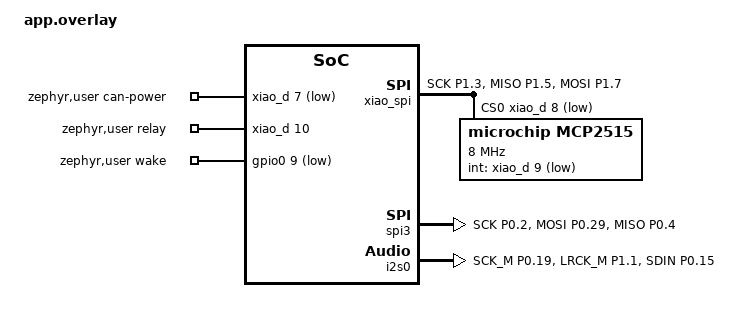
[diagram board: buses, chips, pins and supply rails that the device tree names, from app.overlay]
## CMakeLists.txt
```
cmake_minimum_required(VERSION 3.20.0)

if(NOT EXISTS ${CMAKE_CURRENT_LIST_DIR}/../common/keys.h)
  message(FATAL_ERROR "common/keys.h is missing: run scripts/gen_keys.py first")
endif()

# Flash through the XIAO's UF2 bootloader (double-tap reset first) instead of a J-Link.
# The board file expects the Sense bootloader ID; the XIAO nRF52840 Plus reports this one.
set(BOARD_FLASH_RUNNER uf2)
macro(app_set_runner_args)
  board_runner_args(uf2 "--board-id=nRF52840-SeeedXiao-v1")
endmacro()

find_package(Zephyr REQUIRED HINTS $ENV{ZEPHYR_BASE})
project(pke_car)

target_sources(app PRIVATE
  src/main.c
  src/rpa.c
  src/auth_client.c
  src/ranging.c
  src/vehicle.c
  src/actions.c
  src/door.c
  src/power.c
  src/tap_listener.cpp
  src/tap/detector.cpp
  src/tap/pattern.cpp
  src/tap/tap_features.cpp
  ../common/pke_crypto.c
  ../common/boot_led.c
)
target_include_directories(app PRIVATE ../common src/tap)
```

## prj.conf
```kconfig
CONFIG_LOG=y
CONFIG_MAIN_STACK_SIZE=4096
CONFIG_EVENTS=y

# Onboard RGB LED boot animation (common/boot_led.c)
CONFIG_GPIO=y

# System OFF after 4 days without a fob session (power.c)
CONFIG_POWEROFF=y

# Bluetooth: central that scans for the fob and keeps one link (steps 2 and 6)
CONFIG_BT=y
CONFIG_BT_CENTRAL=y
CONFIG_BT_DEVICE_NAME="PKE car"
CONFIG_BT_MAX_CONN=1
CONFIG_BT_GATT_CLIENT=y
CONFIG_BT_GATT_AUTO_DISCOVER_CCC=y
# Lets the controller answer HCI Read RSSI on the live link (step 6)
CONFIG_BT_CTLR_CONN_RSSI=y

# LE Secure Connections Just Works, no bonding: encryption only, the app does the auth (step 3)
CONFIG_BT_SMP=y
CONFIG_BT_BONDABLE=n

# Room for the 49-byte FOB_PROOF notification
CONFIG_BT_L2CAP_TX_MTU=247
CONFIG_BT_BUF_ACL_RX_SIZE=251
CONFIG_BT_BUF_ACL_TX_SIZE=251

# PSA crypto on CryptoCell-310
CONFIG_PSA_CRYPTO=y
CONFIG_PSA_WANT_GENERATE_RANDOM=y
CONFIG_PSA_WANT_ALG_SHA_256=y
CONFIG_PSA_WANT_ALG_HMAC=y
CONFIG_PSA_WANT_KEY_TYPE_HMAC=y
CONFIG_PSA_WANT_ALG_HKDF=y
# AES-ECB for resolving the fob's RPA
CONFIG_PSA_WANT_KEY_TYPE_AES=y
CONFIG_PSA_WANT_ALG_ECB_NO_PADDING=y

# Door frames over CAN through the MCP2515 on SPI (door.c)
CONFIG_SPI=y
CONFIG_CAN=y
# Releases the CAN SPI pins while the module is unpowered (door.c)
CONFIG_PM_DEVICE=y

# INMP441 microphone, clocked only while a fob is authenticated (tap_listener.cpp)
CONFIG_I2S=y

# The tap detector sources are C++ with float math
CONFIG_CPP=y
CONFIG_STD_CPP17=y
CONFIG_REQUIRES_FULL_LIBCPP=y
CONFIG_FPU=y
# Floats in the EVT log lines
CONFIG_CBPRINTF_FP_SUPPORT=y
```

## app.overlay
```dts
/*
 * Car unit wiring on the carte_uwb support board (README "Hardware (car unit)"). This pinout
 * follows the board, which routes without crossings, so it must not change without a board
 * revision:
 *   D0 DW3000 SCK     D1 DW3000 RSTn    D2 DW3000 WAKEUP   D3 DW3000 MOSI
 *   D4 DW3000 MISO    D5 DW3000 CS      D6 DW3000 IRQ
 *   D7 CAN module power (P-MOS gate, low = on)   D8 MCP2515 CS   D9 MCP2515 INT   D10 relay
 *   D11/D12/D13 INMP441 SD/SCK/WS (bottom pads)
 *   D14 wake input (bottom pad, J1 pin 11)
 *   D17/D18/D19 MCP2515 SCK/MISO/MOSI (bottom pads)
 * The bottom pads aren't on the xiao_d connector, so they are named by their nRF52840 pin.
 */

/ {
	chosen {
		zephyr,canbus = &mcp2515;
	};

	zephyr,user {
		/*
		 * Gate of the board's P-MOS (100k pull-up to 3.3 V): low powers the CAN module, high or
		 * floating cuts it, also in System OFF. On only during a fob session (door.c).
		 */
		can-power-gpios = <&xiao_d 7 GPIO_ACTIVE_LOW>;
		/* Energised = relay closed = jamb-switch line grounded = "driver's door open". */
		relay-gpios = <&xiao_d 10 GPIO_ACTIVE_HIGH>;
		/* D14 (P0.09). Low = wake: brings the unit back from deep idle or System OFF (power.c). */
		wake-gpios = <&gpio0 9 (GPIO_ACTIVE_LOW | GPIO_PULL_UP)>;
	};
};

/* P0.09/P0.10 (D14/D15) are NFC pins until this is set. Leave D15 unconnected. */
&uicr {
	nfct-pins-as-gpios;
};

/* D6/D7 carry the UWB IRQ and the CAN power switch: the console is the USB serial port, not this UART. */
&uart0 {
	status = "disabled";
};

/* D4/D5 carry the UWB MISO and CS instead of I2C. */
&i2c1 {
	status = "disabled";
};

/* CAN on the bottom pads D17-D19; CS and INT on D8/D9, the board's CAN side. */
&xiao_spi {
	pinctrl-0 = <&spi2_can_default>;
	pinctrl-1 = <&spi2_can_sleep>;
	cs-gpios = <&xiao_d 8 GPIO_ACTIVE_LOW>;

	mcp2515: can@0 {
		compatible = "microchip,mcp2515";
		reg = <0>;
		/*
		 * MCP2515 max is 10 MHz. At 1 MHz the driver can't drain a busy 500 kbit/s bus (RX0OVR).
		 * Here the SPI runs down the J1 cable to the OBD box: lower it if frames come back corrupt.
		 */
		spi-max-frequency = <8000000>;
		int-gpios = <&xiao_d 9 GPIO_ACTIVE_LOW>;
		/* Check the crystal printed on the module: a wrong value still starts, but frames won't ACK. */
		osc-freq = <8000000>;
		bitrate = <500000>;
		status = "okay";
	};
};

/* The DW3000 has its own bus, so UWB exchanges never wait behind a CAN transfer. */
&spi3 {
	compatible = "nordic,nrf-spim";
	status = "okay";
	pinctrl-0 = <&spi3_uwb_default>;
	pinctrl-1 = <&spi3_uwb_sleep>;
	pinctrl-names = "default", "sleep";
	cs-gpios = <&xiao_d 5 GPIO_ACTIVE_LOW>;

	/* No driver yet (Qorvo SDK, as in BLEUWB): the node only records the wiring. */
	dw3000: dw3000@0 {
		compatible = "qorvo,dw3000";
		reg = <0>;
		/* Up to 38 MHz per the datasheet, 32 MHz on SPIM3; start slow and raise it once ranging works. */
		spi-max-frequency = <8000000>;
		/* Active high, the only polarity that works in SLEEP/DEEPSLEEP. */
		irq-gpios = <&xiao_d 6 (GPIO_ACTIVE_HIGH | GPIO_PULL_DOWN)>;
		/* Pull low to reset, then release: never drive it high. */
		reset-gpios = <&xiao_d 1 (GPIO_ACTIVE_LOW | GPIO_OPEN_DRAIN)>;
		wakeup-gpios = <&xiao_d 2 GPIO_ACTIVE_HIGH>;
		status = "disabled";
	};
};

&pinctrl {
	spi2_can_default: spi2_can_default {
		group1 {
			psels = <NRF_PSEL(SPIM_SCK, 1, 3)>,
				<NRF_PSEL(SPIM_MISO, 1, 5)>,
				<NRF_PSEL(SPIM_MOSI, 1, 7)>;
		};
	};

	spi2_can_sleep: spi2_can_sleep {
		group1 {
			psels = <NRF_PSEL(SPIM_SCK, 1, 3)>,
				<NRF_PSEL(SPIM_MISO, 1, 5)>,
				<NRF_PSEL(SPIM_MOSI, 1, 7)>;
			low-power-enable;
		};
	};

	spi3_uwb_default: spi3_uwb_default {
		group1 {
			psels = <NRF_PSEL(SPIM_SCK, 0, 2)>,
				<NRF_PSEL(SPIM_MOSI, 0, 29)>,
				<NRF_PSEL(SPIM_MISO, 0, 4)>;
		};
	};

	spi3_uwb_sleep: spi3_uwb_sleep {
		group1 {
			psels = <NRF_PSEL(SPIM_SCK, 0, 2)>,
				<NRF_PSEL(SPIM_MOSI, 0, 29)>,
				<NRF_PSEL(SPIM_MISO, 0, 4)>;
			low-power-enable;
		};
	};

	i2s0_default: i2s0_default {
		group1 {
			psels = <NRF_PSEL(I2S_SCK_M, 0, 19)>,
				<NRF_PSEL(I2S_LRCK_M, 1, 1)>,
				<NRF_PSEL(I2S_SDIN, 0, 15)>;
		};
	};

	i2s0_sleep: i2s0_sleep {
		group1 {
			psels = <NRF_PSEL(I2S_SCK_M, 0, 19)>,
				<NRF_PSEL(I2S_LRCK_M, 1, 1)>,
				<NRF_PSEL(I2S_SDIN, 0, 15)>;
			low-power-enable;
		};
	};
};

&i2s0 {
	status = "okay";
	pinctrl-0 = <&i2s0_default>;
	pinctrl-1 = <&i2s0_sleep>;
	pinctrl-names = "default", "sleep";
};
```

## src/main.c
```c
/*
 * PKE car unit: scans for the enrolled fob, connects once it is close,
 * authenticates it, then watches the live link for the driver walking away.
 *
 * The main thread runs the whole sequence and blocks on car_events; the
 * Bluetooth callbacks only post events or queue adverts.
 */
#include <errno.h>
#include <string.h>

#include <zephyr/kernel.h>
#include <zephyr/logging/log.h>
#include <zephyr/sys/byteorder.h>
#include <zephyr/bluetooth/bluetooth.h>
#include <zephyr/bluetooth/conn.h>
#include <zephyr/bluetooth/hci.h>

#include "actions.h"
#include "auth_client.h"
#include "boot_led.h"
#include "car.h"
#include "door.h"
#include "pke_crypto.h"
#include "power.h"
#include "ranging.h"
#include "rpa.h"
#include "tap_listener.h"
#include "vehicle.h"

LOG_MODULE_REGISTER(car, LOG_LEVEL_INF);

/* Step 2: connect once the filtered advert RSSI holds this level. */
#define CONNECT_RSSI_DBM -70
#define CONNECT_SAMPLES  3

/* Step 6: the exit starts once the filtered link RSSI stays below this level. */
#define EXIT_RSSI_DBM -80
#define EXIT_SAMPLES  5
#define EXIT_POLL_MS  250

/*
 * Step 5: unlock as soon as the fob is authenticated. Off: the doors open with a double tap or the
 * original key, and the session only watches for the exit and locks.
 */
#define AUTO_UNLOCK_ENABLED 0

/* Driving mode: the vehicle state is read every this many exit polls, so once a second. */
#define VEHICLE_POLL_EVERY 4
/*
 * Slow link while driving: 1 s interval, and the fob may skip 4 events, so it listens every 5 s.
 * 16 s supervision timeout. Units: 1.25 ms for the interval, 10 ms for the timeout.
 */
#define DRIVE_CONN_PARAM BT_LE_CONN_PARAM(800, 800, 4, 1600)

/* Step 7: rounds per ranging session, compared with the lock radius. */
#define RANGING_ROUNDS 3
#define LOCK_RADIUS_CM 300

#define LINK_TIMEOUT K_SECONDS(5)
/*
 * Pause before scanning again after a session ends, including after a lock:
 * the gap between CONNECT_RSSI_DBM and EXIT_RSSI_DBM already keeps a fob at
 * the boundary from flapping between lock and unlock.
 */
#define RETRY_DELAY K_SECONDS(2)

/* Deep idle (power.h): listen this long, once per period, for the fob. */
#define BURST_MS       1000
#define BURST_PERIOD_S 60

/* Why exit detection stopped watching the link. */
enum exit_cause {
	EXIT_WALKED_AWAY, /* link RSSI dropped with the car parked */
	EXIT_LINK_LOST,   /* supervision timeout or any other loss: fob out of range */
	EXIT_FOB_CLOSED,  /* the fob ended the link itself, e.g. to sleep at rest */
};

/* Reason of the last disconnection, set before EV_DISCONNECTED is posted. */
static uint8_t disc_reason;

struct adv_report {
	bt_addr_le_t addr;
	int8_t rssi;
};

K_EVENT_DEFINE(car_events);
K_MSGQ_DEFINE(adv_q, sizeof(struct adv_report), 16, 4);

static struct bt_conn *conn;

/* Exponential moving average, alpha = 1/4. */
static int rssi_filter(int ema, int sample, bool first)
{
	return first ? sample : ema + (sample - ema) / 4;
}

static void scan_cb(const bt_addr_le_t *addr, int8_t rssi, uint8_t adv_type,
		    struct net_buf_simple *ad)
{
	struct adv_report report = {.addr = *addr, .rssi = rssi};

	/* Cheap pre-filter here; the AES check runs in the main thread. */
	if (adv_type != BT_GAP_ADV_TYPE_ADV_IND || addr->type != BT_ADDR_LE_RANDOM ||
	    !BT_ADDR_IS_RPA(&addr->a)) {
		return;
	}
	k_msgq_put(&adv_q, &report, K_NO_WAIT);
}

static void connected(struct bt_conn *c, uint8_t err)
{
	k_event_post(&car_events, err ? EV_CONN_FAILED : EV_CONNECTED);
}

static void disconnected(struct bt_conn *c, uint8_t reason)
{
	LOG_INF("disconnected (reason 0x%02x)", reason);
	disc_reason = reason;
	k_event_post(&car_events, EV_DISCONNECTED);
}

static void security_changed(struct bt_conn *c, bt_security_t level, enum bt_security_err err)
{
	k_event_post(&car_events, err ? EV_SEC_FAILED : EV_SECURED);
}

BT_CONN_CB_DEFINE(conn_callbacks) = {
	.connected = connected,
	.disconnected = disconnected,
	.security_changed = security_changed,
};

/*
 * Step 2: scan until the fob's RPA resolves with a strong enough filtered RSSI.
 * Returns -EAGAIN once timeout runs out first.
 */
static int scan_for_fob(bt_addr_le_t *fob, k_timeout_t timeout)
{
	/* No duplicate filtering: every advert feeds the RSSI filter. */
	struct bt_le_scan_param param = {
		.type = BT_LE_SCAN_TYPE_PASSIVE,
		.options = BT_LE_SCAN_OPT_NONE,
		.interval = BT_GAP_SCAN_FAST_INTERVAL,
		.window = BT_GAP_SCAN_FAST_WINDOW,
	};
	k_timepoint_t end = sys_timepoint_calc(timeout);
	char addr_str[BT_ADDR_LE_STR_LEN];
	struct adv_report report;
	int ema = 0;
	int above = 0;
	bool first = true;
	int err;

	k_msgq_purge(&adv_q);
	err = bt_le_scan_start(&param, scan_cb);
	if (err) {
		LOG_ERR("scan start failed (err %d)", err);
		return err;
	}
	LOG_INF("scanning for fob");

	for (;;) {
		if (k_msgq_get(&adv_q, &report, sys_timepoint_timeout(end))) {
			err = -EAGAIN;
			break;
		}
		if (!rpa_is_fob(&report.addr)) {
			continue;
		}
		ema = rssi_filter(ema, report.rssi, first);
		first = false;
		above = ema >= CONNECT_RSSI_DBM ? above + 1 : 0;

		bt_addr_le_to_str(&report.addr, addr_str, sizeof(addr_str));
		LOG_INF("fob resolved %s rssi=%d ema=%d", addr_str, report.rssi, ema);
		if (above >= CONNECT_SAMPLES) {
			*fob = report.addr;
			break;
		}
	}

	bt_le_scan_stop();
	return err;
}

/* Deep idle: one burst of continuous scanning. True if the fob was heard, at any RSSI. */
static bool fob_heard_in_burst(void)
{
	struct bt_le_scan_param param = {
		.type = BT_LE_SCAN_TYPE_PASSIVE,
		.options = BT_LE_SCAN_OPT_NONE,
		.interval = BT_GAP_SCAN_FAST_INTERVAL,
		.window = BT_GAP_SCAN_FAST_INTERVAL,
	};
	k_timepoint_t end = sys_timepoint_calc(K_MSEC(BURST_MS));
	struct adv_report report;
	bool heard = false;

	k_msgq_purge(&adv_q);
	if (bt_le_scan_start(&param, scan_cb)) {
		return false;
	}
	while (!heard && k_msgq_get(&adv_q, &report, sys_timepoint_timeout(end)) == 0) {
		heard = rpa_is_fob(&report.addr);
	}
	bt_le_scan_stop();
	return heard;
}

/*
 * Step 2 with long-parking protection: scans normally until POWER_DEEP_IDLE,
 * then in bursts, back to normal as soon as the fob is heard or the wake input
 * is pressed, and enters System OFF at POWER_OFF.
 */
static int wait_for_fob(bt_addr_le_t *fob)
{
	enum power_stage stage, prev = POWER_NORMAL;
	int err;

	for (;;) {
		stage = power_stage();
		if (stage != prev) {
			LOG_INF("power stage %d -> %d", prev, stage);
			prev = stage;
		}

		switch (stage) {
		case POWER_NORMAL:
			err = scan_for_fob(fob, power_until_deep_idle());
			if (err != -EAGAIN) {
				return err;
			}
			break;
		case POWER_DEEP_IDLE:
			if (fob_heard_in_burst()) {
				LOG_INF("fob heard, back to normal scanning");
				power_note_activity();
			} else {
				power_wait_wake(K_MSEC(BURST_PERIOD_S * MSEC_PER_SEC - BURST_MS));
			}
			break;
		case POWER_OFF:
			power_off();
			break;
		}
	}
}

/* Steps 2-3: connect and encrypt the link (LE Secure Connections, Just Works). */
static int connect_secure(const bt_addr_le_t *fob)
{
	uint32_t ev;
	int err;

	k_event_clear(&car_events, UINT32_MAX);
	LOG_INF("fob in range, connecting");
	err = bt_conn_le_create(fob, BT_CONN_LE_CREATE_CONN, BT_LE_CONN_PARAM_DEFAULT, &conn);
	if (err) {
		LOG_WRN("connection create failed (err %d)", err);
		return err;
	}
	ev = car_wait(EV_CONNECTED | EV_CONN_FAILED, LINK_TIMEOUT);
	if (!(ev & EV_CONNECTED)) {
		LOG_WRN("connection failed");
		return -ENOTCONN;
	}

	LOG_INF("connected, encrypting");
	err = bt_conn_set_security(conn, BT_SECURITY_L2);
	if (err) {
		LOG_WRN("set security failed (err %d)", err);
		return err;
	}
	ev = car_wait(EV_SECURED | EV_SEC_FAILED, LINK_TIMEOUT);
	if (!(ev & EV_SECURED)) {
		LOG_WRN("encryption failed");
		return -EACCES;
	}
	LOG_INF("link encrypted (L%d)", bt_conn_get_security(conn));
	return 0;
}

static int read_conn_rssi(int8_t *rssi)
{
	struct bt_hci_cp_read_rssi *cp;
	struct bt_hci_rp_read_rssi *rp;
	struct net_buf *buf;
	struct net_buf *rsp = NULL;
	uint16_t handle;
	int err;

	err = bt_hci_get_conn_handle(conn, &handle);
	if (err) {
		return err;
	}
	buf = bt_hci_cmd_alloc(K_SECONDS(1));
	if (!buf) {
		return -ENOBUFS;
	}
	cp = net_buf_add(buf, sizeof(*cp));
	cp->handle = sys_cpu_to_le16(handle);

	err = bt_hci_cmd_send_sync(BT_HCI_OP_READ_RSSI, buf, &rsp);
	if (err) {
		return err;
	}
	rp = (void *)rsp->data;
	*rssi = rp->rssi;
	net_buf_unref(rsp);
	return 0;
}

/*
 * Driving mode: a slow link the fob barely wakes for, and the fob told not to sleep at rest. The fob
 * hears it while the link is fast: before slowing it, after speeding it up. Whatever fails is retried
 * on the next vehicle poll.
 */
static void sync_driving(bool driving, bool *link_slow, bool *fob_told)
{
	if (driving && !*fob_told) {
		*fob_told = auth_client_drive(conn, true) == 0;
	}
	if (driving != *link_slow) {
		int err = bt_conn_le_param_update(conn, driving ? DRIVE_CONN_PARAM
								: BT_LE_CONN_PARAM_DEFAULT);

		if (err) {
			LOG_WRN("conn param update failed (err %d)", err);
		} else {
			*link_slow = driving;
			LOG_INF("%s link", driving ? "driving: slow" : "parked: fast");
		}
	}
	if (!driving && *fob_told) {
		*fob_told = auth_client_drive(conn, false) != 0;
	}
}

/*
 * Step 6: polls the link RSSI until the driver walks away with the car parked, or the link ends.
 * While the car is driven, the RSSI is ignored, the link runs slow (sync_driving()) and the mic is
 * off.
 */
static enum exit_cause wait_for_exit(void)
{
	unsigned int ticks = 0;
	unsigned int samples = 0;
	bool driving = false;
	bool link_slow = false;
	bool fob_told = false;
	bool read_failed = false;
	int ema = 0;
	int below = 0;
	int8_t rssi;
	int err;

	LOG_INF("exit detection armed (link RSSI < %d dBm for %d samples)", EXIT_RSSI_DBM,
		EXIT_SAMPLES);
	for (;;) {
		if (car_wait(0, K_MSEC(EXIT_POLL_MS))) {
			/*
			 * A clean terminate came from the fob over the encrypted link, so it was
			 * still in range: nothing says the driver left.
			 */
			if (disc_reason == BT_HCI_ERR_REMOTE_USER_TERM_CONN) {
				LOG_INF("fob closed the link while unlocked, not locking");
				return EXIT_FOB_CLOSED;
			}
			LOG_WRN("link lost while unlocked, treating as exit");
			return EXIT_LINK_LOST;
		}
		if (ticks++ % VEHICLE_POLL_EVERY == 0) {
			bool was_driving = driving;

			driving = vehicle_poll() == VEHICLE_DRIVING;
			/* No tap gestures on the move: the mic listens only while parked or off. */
			if (driving && !was_driving) {
				tap_listener_stop();
			} else if (!driving && was_driving) {
				tap_listener_start();
			}
			sync_driving(driving, &link_slow, &fob_told);
		}
		if (driving || link_slow || fob_told) {
			/* No exit while driven, nor before the link and the fob are back to parked. */
			samples = 0;
			below = 0;
			continue;
		}
		err = read_conn_rssi(&rssi);
		if (err) {
			if (!read_failed) {
				LOG_WRN("link RSSI read failed (err %d)", err);
				read_failed = true;
			}
			continue;
		}
		ema = rssi_filter(ema, rssi, samples == 0);
		below = ema < EXIT_RSSI_DBM ? below + 1 : 0;
		if (++samples % 4 == 0) {
			LOG_INF("link rssi=%d ema=%d", rssi, ema);
		}
		if (below < EXIT_SAMPLES) {
			continue;
		}

		LOG_INF("exit started: link ema=%d dBm below %d dBm", ema, EXIT_RSSI_DBM);
		if (vehicle_is_parked()) {
			return EXIT_WALKED_AWAY;
		}
		below = 0;
	}
}

/* Step 7: one ranging session. Returns the longest run of rounds beyond the lock radius. */
static int ranging_session(const uint8_t session_key[PKE_KEY_LEN])
{
	uint8_t sts_key[PKE_KEY_LEN];
	uint32_t distance_cm;
	int consecutive = 0;
	int best = 0;

	if (auth_client_range(conn, session_key, sts_key)) {
		return 0;
	}
	for (int i = 0; i < RANGING_ROUNDS; i++) {
		int err = ranging_measure(sts_key, &distance_cm);

		/* -ENOTSUP: the UWB dummy, which always passes. */
		if (err == -ENOTSUP || (err == 0 && distance_cm > LOCK_RADIUS_CM)) {
			consecutive++;
		} else {
			consecutive = 0;
		}
		best = MAX(best, consecutive);
	}
	memset(sts_key, 0, sizeof(sts_key));
	return best;
}

/* Steps 2-8 for one approach of the fob. */
static void run_session(const bt_addr_le_t *fob)
{
	uint8_t session_key[PKE_KEY_LEN];
	enum exit_cause cause;
	bool locked = false;
	bool armed = true;

	if (connect_secure(fob) || auth_client_run(conn, session_key)) {
		return;
	}

	/* The mic only listens while this authenticated fob is connected. */
	tap_listener_start();

#if AUTO_UNLOCK_ENABLED
	uint32_t distance_cm;
	/* Step 4 */
	int err = ranging_measure(session_key, &distance_cm);

	/* Step 5, never while driving: a fob reconnecting mid-drive must not open the doors. */
	if (vehicle_poll() == VEHICLE_DRIVING) {
		LOG_INF("car is being driven, unlock skipped");
	} else {
		armed = unlock_decide(pke_key_id(session_key), err ? -1 : (int32_t)distance_cm);
	}
#else
	LOG_INF("auto-unlock off, double tap to unlock");
#endif
	if (armed) {
		/*
		 * Steps 6-8: stay connected so exit detection can read the link RSSI.
		 * A lost link means the fob is out of BLE range, so beyond any lock radius.
		 * A link the fob closed itself leaves the doors as they are.
		 */
		do {
			cause = wait_for_exit();
			if (cause == EXIT_FOB_CLOSED) {
				break;
			}
			locked = lock_decide(cause == EXIT_WALKED_AWAY ? ranging_session(session_key)
								 : LOCK_K_ROUNDS);
		} while (!locked && cause == EXIT_WALKED_AWAY);
	}

	tap_listener_stop();
	door_sleep();
	memset(session_key, 0, sizeof(session_key));
}

static void drop_conn(void)
{
	if (!conn) {
		return;
	}
	if (bt_conn_disconnect(conn, BT_HCI_ERR_REMOTE_USER_TERM_CONN) == 0) {
		car_wait(0, K_SECONDS(2));
	}
	bt_conn_unref(conn);
	conn = NULL;
}

int main(void)
{
	bt_addr_le_t fob;
	int err;

	boot_led_play();
	err = pke_crypto_init();
	if (!err) {
		err = rpa_init();
	}
	if (err) {
		LOG_ERR("crypto init failed (err %d)", err);
		return 0;
	}
	/* Neither is fatal: BLE still runs, and door_send() retries the CAN start. */
	door_init();
	tap_listener_init();
	err = power_init();
	if (err) {
		LOG_ERR("wake input init failed (err %d)", err);
	}

	err = bt_enable(NULL);
	if (err) {
		LOG_ERR("bluetooth init failed (err %d)", err);
		return 0;
	}
	LOG_INF("car ready");

	for (;;) {
		if (wait_for_fob(&fob)) {
			k_sleep(RETRY_DELAY);
			continue;
		}
		run_session(&fob);
		drop_conn();
		power_note_activity();
		k_sleep(RETRY_DELAY);
	}
}
```

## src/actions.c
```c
#include <zephyr/logging/log.h>

#include "actions.h"
#include "door.h"

LOG_MODULE_REGISTER(actions, LOG_LEVEL_INF);

bool unlock_decide(uint32_t session_key_id, int32_t distance_cm)
{
	/*
	 * The UWB dummy gives no distance (distance_cm < 0) and always passes. Later: compare
	 * distance_cm with the unlock radius before unlocking.
	 */
	if (distance_cm < 0) {
		LOG_INF("UNLOCK decision: fob authenticated, key id %08x, distance n/a (UWB dummy) "
			"-> unlock", session_key_id);
	} else {
		LOG_INF("UNLOCK decision: fob authenticated, key id %08x, distance %d cm -> unlock",
			session_key_id, distance_cm);
	}

	/*
	 * True even when the frame was not delivered: the session stays up, so exit detection
	 * still runs and a double tap retries the unlock. Dropping the link instead would
	 * reconnect every few seconds and pulse the relay each time.
	 */
	if (!door_send(DOOR_UNLOCK)) {
		LOG_WRN("unlock not delivered; double tap to retry");
	}
	return true;
}

bool lock_decide(int rounds_above_radius)
{
	if (rounds_above_radius < LOCK_K_ROUNDS) {
		LOG_INF("LOCK decision: %d/%d rounds above radius -> keep waiting",
			rounds_above_radius, LOCK_K_ROUNDS);
		return false;
	}
	LOG_INF("LOCK decision: %d/%d rounds above radius -> lock", rounds_above_radius,
		LOCK_K_ROUNDS);

	/* A failed lock returns false, so the next exit trigger retries it while still linked. */
	return door_send(DOOR_LOCK);
}
```

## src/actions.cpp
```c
#include "actions.h"
#include "door.h"
#include "log.h"

LOG_MODULE("actions");

bool unlock_decide(int rssi_dbm)
{
	/*
	 * Simplified authentication: an advert whose RPA resolves with the fob IRK is enough. There
	 * is no challenge-response and no UWB distance check (see README "Safety").
	 */
	LOG_INF("UNLOCK decision: fob RPA resolved, rssi ema=%d dBm -> unlock", rssi_dbm);

	/*
	 * True even when the frame was not delivered: the session stays up, so exit detection
	 * still runs and a double tap retries the unlock. Ending it instead would detect the fob
	 * again within seconds and pulse the relay each time.
	 */
	if (!door_send(DOOR_UNLOCK)) {
		LOG_WRN("unlock not delivered; double tap to retry");
	}
	return true;
}

bool lock_decide(void)
{
	LOG_INF("LOCK decision: fob walked away -> lock");

	/* A failed lock returns false, so the next exit trigger retries it while the fob is still seen. */
	return door_send(DOOR_LOCK);
}
```

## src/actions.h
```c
/* Unlock and lock decisions. */
#ifndef ACTIONS_H
#define ACTIONS_H

/* Decides and performs the unlock once the fob is detected close by. True when unlocked. */
bool unlock_decide(int rssi_dbm);

/* Decides and performs the lock once the fob has walked away. True when locked. */
bool lock_decide(void);

#endif /* ACTIONS_H */
```

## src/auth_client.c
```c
#include <errno.h>
#include <string.h>

#include <zephyr/kernel.h>
#include <zephyr/logging/log.h>
#include <zephyr/bluetooth/gatt.h>

#include "auth_client.h"
#include "car.h"
#include "pke_crypto.h"

LOG_MODULE_REGISTER(auth_client, LOG_LEVEL_INF);

/* Budget for each exchange, measured once the link is encrypted. */
#define EXCHANGE_TIMEOUT_MS 3000
/* DRIVE may go out on the slow driving link, where the fob only listens every ~5 s. */
#define DRIVE_TIMEOUT_MS 7000

static const struct bt_uuid_128 auth_uuid = BT_UUID_INIT_128(PKE_AUTH_UUID_VAL);

/* The Bluetooth stack keeps pointers to these until their callback runs. */
static struct bt_gatt_exchange_params mtu_params;
static struct bt_gatt_discover_params disc_params;
static struct bt_gatt_discover_params ccc_disc_params;
static struct bt_gatt_subscribe_params sub_params;
static struct bt_gatt_write_params write_params;

static uint16_t auth_handle;
static uint8_t att_err;
static uint8_t rx_buf[PKE_MSG_MAX_LEN];
static uint16_t rx_len;
static int64_t deadline;

static void mtu_cb(struct bt_conn *conn, uint8_t err, struct bt_gatt_exchange_params *params)
{
	att_err = err;
	k_event_post(&car_events, EV_MTU_DONE);
}

static uint8_t discover_cb(struct bt_conn *conn, const struct bt_gatt_attr *attr,
			   struct bt_gatt_discover_params *params)
{
	if (attr) {
		const struct bt_gatt_chrc *chrc = attr->user_data;

		auth_handle = chrc->value_handle;
	}
	k_event_post(&car_events, EV_DISCOVERED);
	return BT_GATT_ITER_STOP;
}

static void subscribe_cb(struct bt_conn *conn, uint8_t err, struct bt_gatt_subscribe_params *params)
{
	att_err = err;
	k_event_post(&car_events, EV_SUBSCRIBED);
}

static uint8_t notify_cb(struct bt_conn *conn, struct bt_gatt_subscribe_params *params,
			 const void *data, uint16_t len)
{
	if (!data) {
		/* Unsubscribed, e.g. on disconnect. */
		params->value_handle = 0;
		return BT_GATT_ITER_STOP;
	}
	rx_len = MIN(len, sizeof(rx_buf));
	memcpy(rx_buf, data, rx_len);
	k_event_post(&car_events, EV_RX);
	return BT_GATT_ITER_CONTINUE;
}

static void write_cb(struct bt_conn *conn, uint8_t err, struct bt_gatt_write_params *params)
{
	att_err = err;
	k_event_post(&car_events, EV_WRITE_DONE);
}

static k_timeout_t remaining(void)
{
	return K_MSEC(MAX(deadline - k_uptime_get(), 0));
}

/* Clears `bit` and the last ATT error before starting the operation that posts it. */
static void begin(uint32_t bit)
{
	k_event_clear(&car_events, bit);
	att_err = 0;
}

static int wait_att(uint32_t bit, const char *what)
{
	if (!(car_wait(bit, remaining()) & bit)) {
		LOG_WRN("%s: timeout or link lost", what);
		return -ETIMEDOUT;
	}
	if (att_err) {
		LOG_WRN("%s: ATT error 0x%02x", what, att_err);
		return -EIO;
	}
	return 0;
}

/* Writes msg to the Auth characteristic and waits for the fob's notification of rsp_type. */
static int exchange(struct bt_conn *conn, const uint8_t *msg, uint16_t len, uint8_t rsp_type,
		    uint16_t rsp_len)
{
	int err;

	begin(EV_WRITE_DONE | EV_RX);
	write_params = (struct bt_gatt_write_params){
		.func = write_cb,
		.handle = auth_handle,
		.data = msg,
		.length = len,
	};
	err = bt_gatt_write(conn, &write_params);
	if (err) {
		LOG_WRN("write 0x%02x failed (err %d)", msg[0], err);
		return err;
	}
	err = wait_att(EV_WRITE_DONE, "write");
	if (err) {
		return err;
	}
	if (!(car_wait(EV_RX, remaining()) & EV_RX)) {
		LOG_WRN("no reply to 0x%02x", msg[0]);
		return -ETIMEDOUT;
	}
	if (rx_len != rsp_len || rx_buf[0] != rsp_type) {
		LOG_WRN("unexpected reply 0x%02x (len %u)", rx_buf[0], rx_len);
		return -EPROTO;
	}
	return 0;
}

/* MTU exchange, Auth characteristic discovery and notification subscription. */
static int setup_link(struct bt_conn *conn)
{
	int err;

	begin(EV_MTU_DONE);
	mtu_params.func = mtu_cb;
	err = bt_gatt_exchange_mtu(conn, &mtu_params);
	if (!err) {
		err = wait_att(EV_MTU_DONE, "MTU exchange");
	}
	if (err && err != -EALREADY) {
		return err;
	}
	if (bt_gatt_get_mtu(conn) < PKE_MSG_MAX_LEN + 3) {
		LOG_WRN("ATT MTU %u too small", bt_gatt_get_mtu(conn));
		return -EMSGSIZE;
	}

	begin(EV_DISCOVERED);
	auth_handle = 0;
	disc_params = (struct bt_gatt_discover_params){
		.uuid = &auth_uuid.uuid,
		.func = discover_cb,
		.start_handle = BT_ATT_FIRST_ATTRIBUTE_HANDLE,
		.end_handle = BT_ATT_LAST_ATTRIBUTE_HANDLE,
		.type = BT_GATT_DISCOVER_CHARACTERISTIC,
	};
	err = bt_gatt_discover(conn, &disc_params);
	if (!err) {
		err = wait_att(EV_DISCOVERED, "discovery");
	}
	if (err) {
		return err;
	}
	if (!auth_handle) {
		LOG_WRN("PKE Auth characteristic not found");
		return -ENOENT;
	}

	begin(EV_SUBSCRIBED);
	sub_params = (struct bt_gatt_subscribe_params){
		.notify = notify_cb,
		.subscribe = subscribe_cb,
		.value_handle = auth_handle,
		.ccc_handle = BT_GATT_AUTO_DISCOVER_CCC_HANDLE,
		.end_handle = BT_ATT_LAST_ATTRIBUTE_HANDLE,
		.disc_params = &ccc_disc_params,
		.value = BT_GATT_CCC_NOTIFY,
	};
	err = bt_gatt_subscribe(conn, &sub_params);
	if (!err) {
		err = wait_att(EV_SUBSCRIBED, "subscribe");
	}
	return err;
}

int auth_client_run(struct bt_conn *conn, uint8_t session_key[PKE_KEY_LEN])
{
	uint8_t hello[PKE_HELLO_LEN] = {PKE_MSG_HELLO};
	uint8_t proof[PKE_CAR_PROOF_LEN] = {PKE_MSG_CAR_PROOF};
	uint8_t nonce_c[PKE_NONCE_LEN];
	uint8_t nonce_f[PKE_NONCE_LEN];
	int err;

	deadline = k_uptime_get() + EXCHANGE_TIMEOUT_MS;
	err = setup_link(conn);
	if (err) {
		return err;
	}

	err = pke_random(nonce_c, sizeof(nonce_c));
	if (err) {
		return err;
	}
	memcpy(hello + 1, nonce_c, PKE_NONCE_LEN);
	LOG_INF("sending HELLO");
	err = exchange(conn, hello, sizeof(hello), PKE_MSG_FOB_PROOF, PKE_FOB_PROOF_LEN);
	if (err) {
		return err;
	}

	memcpy(nonce_f, rx_buf + 1, PKE_NONCE_LEN);
	if (pke_proof_verify(PKE_LABEL_FOB, nonce_c, nonce_f, rx_buf + 1 + PKE_NONCE_LEN)) {
		LOG_WRN("fob proof invalid");
		return -EACCES;
	}
	LOG_INF("fob proof valid, sending CAR_PROOF");

	err = pke_proof(PKE_LABEL_CAR, nonce_c, nonce_f, proof + 1);
	if (!err) {
		err = exchange(conn, proof, sizeof(proof), PKE_MSG_ACK, PKE_ACK_LEN);
	}
	if (err) {
		return err;
	}
	if (rx_buf[1] != PKE_STATUS_OK) {
		LOG_WRN("fob rejected the car proof");
		return -EACCES;
	}

	err = pke_session_key(nonce_c, nonce_f, session_key);
	if (err) {
		return err;
	}
	LOG_INF("mutual auth OK, session key id=%08x", pke_key_id(session_key));
	return 0;
}

int auth_client_range(struct bt_conn *conn, const uint8_t session_key[PKE_KEY_LEN],
		      uint8_t sts_key[PKE_KEY_LEN])
{
	uint8_t req[PKE_RANGE_REQ_LEN] = {PKE_MSG_RANGE_REQ};
	int err;

	deadline = k_uptime_get() + EXCHANGE_TIMEOUT_MS;
	err = pke_random(req + 1, PKE_NONCE_LEN);
	if (err) {
		return err;
	}
	LOG_INF("sending RANGE_REQ");
	err = exchange(conn, req, sizeof(req), PKE_MSG_RANGE_ACK, PKE_RANGE_ACK_LEN);
	if (err) {
		return err;
	}
	if (rx_buf[1] != PKE_STATUS_OK) {
		LOG_WRN("fob refused the ranging session");
		return -EACCES;
	}

	err = pke_sts_key(session_key, req + 1, sts_key);
	if (err) {
		return err;
	}
	LOG_INF("sts key id=%08x", pke_key_id(sts_key));
	return 0;
}

int auth_client_drive(struct bt_conn *conn, bool driving)
{
	uint8_t req[PKE_DRIVE_LEN] = {PKE_MSG_DRIVE, driving};
	int err;

	deadline = k_uptime_get() + DRIVE_TIMEOUT_MS;
	err = exchange(conn, req, sizeof(req), PKE_MSG_ACK, PKE_ACK_LEN);
	if (!err && rx_buf[1] != PKE_STATUS_OK) {
		err = -EACCES;
	}
	if (err) {
		LOG_WRN("DRIVE %u not acknowledged (err %d)", driving, err);
	}
	return err;
}
```

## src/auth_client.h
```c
/* Car side of the PKE GATT protocol. Both calls block the caller and return 0 or a negative errno. */
#ifndef AUTH_CLIENT_H
#define AUTH_CLIENT_H

#include <stdbool.h>
#include <stdint.h>
#include <zephyr/bluetooth/conn.h>

#include "pke_protocol.h"

/*
 * Step 3, on an encrypted link: finds the Auth characteristic, runs the mutual
 * challenge-response and derives the session key.
 */
int auth_client_run(struct bt_conn *conn, uint8_t session_key[PKE_KEY_LEN]);

/* Step 7: sends RANGE_REQ with a fresh nonce and derives the STS key from the session key. */
int auth_client_range(struct bt_conn *conn, const uint8_t session_key[PKE_KEY_LEN],
		      uint8_t sts_key[PKE_KEY_LEN]);

/* Tells the fob whether the car is being driven, so it keeps the link instead of sleeping at rest. */
int auth_client_drive(struct bt_conn *conn, bool driving);

#endif /* AUTH_CLIENT_H */
```

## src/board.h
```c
/*
 * Car unit wiring on the ESP32 DevKit (README "Hardware"). Takes the place of
 * app.overlay on nrf52840/main.
 */
#ifndef BOARD_H
#define BOARD_H

#include <stdint.h>

#include <driver/i2s.h>

/* ---- MCP2515 CAN controller (SPI on VSPI: SCK=18, MISO=19, MOSI=23) ---- */
static const uint8_t MCP_CS_PIN = 5;
/* Active low, falls when a frame is received (door.cpp). */
static const uint8_t MCP_INT_PIN = 4;

/* ---- Relay wake ---- */
/* GPIO driving the relay coil, through a transistor and a flyback diode. */
static const uint8_t RELAY_PIN = 13;
/* Energised = relay closed = jamb-switch line grounded = "driver's door open". */
static const bool RELAY_ACTIVE_HIGH = true;

/* ---- INMP441 I2S microphone (L/R tied to GND: left channel) ---- */
static const int I2S_WS_PIN = 25;
static const int I2S_SCK_PIN = 33;
static const int I2S_SD_PIN = 32;
#define I2S_PORT I2S_NUM_0

#endif /* BOARD_H */
```

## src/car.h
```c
/* Events shared by the car's Bluetooth callbacks and its main thread. */
#ifndef CAR_H
#define CAR_H

#include <zephyr/kernel.h>
#include <zephyr/sys/util.h>

#define EV_CONNECTED    BIT(0)
#define EV_CONN_FAILED  BIT(1)
#define EV_DISCONNECTED BIT(2)
#define EV_SECURED      BIT(3)
#define EV_SEC_FAILED   BIT(4)
#define EV_MTU_DONE     BIT(5)
#define EV_DISCOVERED   BIT(6)
#define EV_SUBSCRIBED   BIT(7)
#define EV_WRITE_DONE   BIT(8)
#define EV_RX           BIT(9)

extern struct k_event car_events;

/*
 * Waits until any of `bits`, or a disconnect, is posted. Returns the bits seen,
 * or 0 on timeout. Clear a bit before starting the operation that posts it.
 */
static inline uint32_t car_wait(uint32_t bits, k_timeout_t timeout)
{
	return k_event_wait(&car_events, bits | EV_DISCONNECTED, false, timeout);
}

#endif /* CAR_H */
```

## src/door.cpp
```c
/*
 * Door frames over CAN through the MCP2515, ported from car/src/door.c on
 * nrf52840/main. The measurements behind each choice are in the README,
 * "Waking a sleeping bus".
 *
 * The controller stays in normal mode and receives every frame in its own
 * task, woken by the INT pin: ACKing the gateway's NM frames keeps the
 * responsive window usable, and the last frame seen tells whether the bus is
 * awake without having to transmit and fail.
 */
#include <errno.h>
#include <string.h>

#include <Arduino.h>
#include <mcp_can.h>

#include "board.h"
#include "door.h"
#include "door_config.h"
#include "log.h"

LOG_MODULE("door");

/* Above the tap processing task and the loop task, which both send door frames. */
#define RX_TASK_PRIORITY 3
#define RX_TASK_STACK    3072

static MCP_CAN can0(MCP_CS_PIN);

/* door_mutex serialises whole commands; mcp_mutex every SPI exchange with the chip. */
static SemaphoreHandle_t door_mutex;
static SemaphoreHandle_t mcp_mutex;
static SemaphoreHandle_t irq_sem;
static SemaphoreHandle_t rx_sem;
static SemaphoreHandle_t reply_sem;

/* Written with mcp_mutex held, so the receive task never talks to an absent chip. */
static bool can_ready;
static uint8_t reply[4];

/* millis() of the last frame received from any other node; rx_seen stays false until the first one. */
static volatile uint32_t last_rx_ms;
static volatile bool rx_seen;

static void IRAM_ATTR mcp_int_isr(void)
{
	BaseType_t woken = pdFALSE;

	xSemaphoreGiveFromISR(irq_sem, &woken);
	if (woken) {
		portYIELD_FROM_ISR();
	}
}

/* Empties both receive buffers. Call with mcp_mutex held. */
static void drain_rx(void)
{
	unsigned long id; /* INT32U in mcp_can */
	uint8_t len;
	uint8_t buf[8];

	while (can0.checkReceive() == CAN_MSGAVAIL) {
		if (can0.readMsgBuf(&id, &len, buf) != CAN_OK) {
			break;
		}
		last_rx_ms = millis();
		rx_seen = true;
		xSemaphoreGive(rx_sem);

		/* Positive response to service 0x30 (0x30 + 0x40), echoing LID 0x11. */
		if (id == DOOR_RESPONSE_ID && len >= 4 && buf[2] == 0x70) {
			memcpy(reply, buf, sizeof(reply));
			xSemaphoreGive(reply_sem);
		}
	}
}

static void rx_task(void *arg)
{
	for (;;) {
		xSemaphoreTake(irq_sem, portMAX_DELAY);
		/*
		 * A frame that lands while the buffers are being drained keeps INT low without a new
		 * falling edge, so drain until the line is released.
		 */
		do {
			xSemaphoreTake(mcp_mutex, portMAX_DELAY);
			if (can_ready) {
				drain_rx();
			}
			xSemaphoreGive(mcp_mutex);
		} while (can_ready && digitalRead(MCP_INT_PIN) == LOW);
	}
}

static bool bus_awake(void)
{
	return rx_seen && (millis() - last_rx_ms) < BUS_AWAKE_TIMEOUT_MS;
}

/* Resets the chip and puts it on-bus in normal mode, accepting every frame. Call with mcp_mutex held. */
static bool reset_can(void)
{
	can_ready = can0.begin(MCP_ANY, MCP_CAN_SPEED, MCP_OSC_FREQ) == CAN_OK &&
		    can0.setMode(MCP_NORMAL) == MCP2515_OK;
	return can_ready;
}

static bool start_can(void)
{
	bool ok;

	xSemaphoreTake(mcp_mutex, portMAX_DELAY);
	ok = reset_can();
	xSemaphoreGive(mcp_mutex);
	if (!ok) {
		LOG_ERR("MCP2515 init failed");
		return false;
	}
	LOG_INF("MCP2515 on-bus");
	return true;
}

/* Returns CAN_OK, or the mcp_can error code (7 = CAN_SENDMSGTIMEOUT: not ACKed). */
static uint8_t send_frame(const uint8_t data[8])
{
	uint8_t buf[8];
	uint8_t eflg, tec, rec;
	uint8_t res;

	memcpy(buf, data, sizeof(buf));
	xSemaphoreTake(mcp_mutex, portMAX_DELAY);
	/* mcp_can waits up to TIMEOUTVALUE (2.5 ms) for the frame to leave the TX buffer. */
	res = can0.sendMsgBuf(DOOR_CMD_ID, 0, sizeof(buf), buf);
	if (res == CAN_OK) {
		xSemaphoreGive(mcp_mutex);
		return CAN_OK;
	}

	/* EFLG: bit0 EWARN, bit2 TXWAR, bit4 TXEP (error-passive), bit5 TXBO (bus-off) */
	eflg = can0.getError();
	tec = can0.errorCountTX();
	rec = can0.errorCountRX();
	/*
	 * Not ACKed. Left alone, the MCP2515 would keep retransmitting it and fire it the instant the
	 * ECU wakes - a stale lock/unlock. Resetting the chip drops it and clears the error counters.
	 * (mcp_can's abortTX() leaves CANCTRL.ABAT set, which would abort every later send too.)
	 */
	if (!reset_can()) {
		LOG_ERR("CAN restart failed");
	}
	xSemaphoreGive(mcp_mutex);
	LOG_WRN("door frame failed: code=%u EFLG=0x%02X TEC=%u REC=%u", res, eflg, tec, rec);
	return res;
}

static void relay_set(bool energised)
{
	digitalWrite(RELAY_PIN, energised == RELAY_ACTIVE_HIGH ? HIGH : LOW);
}

#if RELAY_WAKE_ENABLED
/* Waits up to ms, returning as soon as any frame arrives. */
static bool wait_for_traffic(uint32_t ms)
{
	return xSemaphoreTake(rx_sem, pdMS_TO_TICKS(ms)) == pdTRUE;
}

/*
 * Wakes a body ECU in deep sleep by pulsing the relay across the driver's jamb switch as a train of
 * open/close cycles - the way Toyota's service procedure wakes a sleeping main body ECU (open the
 * door, then open and close several times at ~1.5 s intervals). A single pulse isn't enough.
 * Returns as soon as the bus comes alive, so a wake short-circuits the rest of the train.
 */
static bool relay_wake(void)
{
	LOG_INF("wake: pulsing relay on the jamb-switch line...");
	xSemaphoreTake(rx_sem, 0);
	for (int i = 0; i < RELAY_PULSE_COUNT; i++) {
		relay_set(true); /* "door open" - ground the line */
		bool awake = wait_for_traffic(RELAY_PULSE_ON_MS);

		relay_set(false); /* "door closed" - release to the pull-up */
		if (awake || wait_for_traffic(RELAY_PULSE_OFF_MS)) {
			LOG_INF("wake: bus came alive after %d pulse(s)", i + 1);
			return true;
		}
	}
	/* Train done: give the gateway/ECU a last moment to bring the bus up before giving up. */
	if (wait_for_traffic(RELAY_WAKE_TIMEOUT_MS)) {
		LOG_INF("wake: bus came alive after the pulse train");
		return true;
	}
	LOG_WRN("wake: no traffic after relay pulses; ECU may still be asleep");
	return false;
}
#endif

/*
 * Retrying matters even when the bus reads silent: measured on the CT200h, a door frame sent after
 * 42 s of silence was both ACKed and positively answered. A quiet bus is not necessarily a sleeping
 * one - as long as this node stays in normal mode and ACKs the gateway's NM frames, those quiet
 * stretches are gaps in the NM cycle, not deep sleep. Lock and unlock are idempotent, so a repeat
 * is harmless.
 */
static bool send_with_retries(const uint8_t *data)
{
	for (int attempt = 1; attempt <= DOOR_MAX_RETRIES && can_ready; attempt++) {
		xSemaphoreTake(reply_sem, 0);
		if (send_frame(data) == CAN_OK) {
			LOG_INF("sent OK (attempt %d)", attempt);
			if (xSemaphoreTake(reply_sem, pdMS_TO_TICKS(DOOR_REPLY_WAIT_MS)) == pdTRUE) {
				LOG_INF("body ECU confirmed (758: %02X %02X %02X %02X)", reply[0], reply[1],
					reply[2], reply[3]);
			}
			return true;
		}
		if (attempt < DOOR_MAX_RETRIES) {
			vTaskDelay(pdMS_TO_TICKS(DOOR_RETRY_GAP_MS));
		}
	}

	if (bus_awake()) {
		/* traffic is flowing but our frame still wasn't ACKed: not a sleep problem */
		LOG_WRN("NOT delivered although the bus is active - check bitrate/wiring");
	} else {
		LOG_WRN("NOT delivered after retries: bus unresponsive");
	}
	return false;
}

bool door_send(enum door_cmd cmd)
{
	const uint8_t *data = cmd == DOOR_UNLOCK ? UNLOCK_CMD_DATA : LOCK_CMD_DATA;
	bool ok = false;

	xSemaphoreTake(door_mutex, portMAX_DELAY);
	if (!can_ready) {
		start_can();
	}
	if (!can_ready) {
		LOG_WRN("CAN not ready, command dropped");
		goto out;
	}

	/*
	 * Don't launch a door frame into a bus in deep sleep: nothing would ACK it. The NM frame
	 * ticks ~1 Hz in the responsive window, so bus_awake() stays true there and the quiet-stretch
	 * sends above still happen.
	 */
	if (!bus_awake()) {
#if RELAY_WAKE_ENABLED
		/*
		 * Only unlock-on-return has to defeat deep sleep; lock happens in the responsive
		 * window just after walking away, where the bus is still awake.
		 */
		if (cmd != DOOR_UNLOCK || !relay_wake()) {
			LOG_WRN("bus in deep sleep, command dropped");
			goto out;
		}
		LOG_INF("bus woke after relay pulse, sending command");
#else
		LOG_WRN("bus in deep sleep, command dropped");
		goto out;
#endif
	}

	ok = send_with_retries(data);
out:
	xSemaphoreGive(door_mutex);
	return ok;
}

int door_init(void)
{
	door_mutex = xSemaphoreCreateMutex();
	mcp_mutex = xSemaphoreCreateMutex();
	irq_sem = xSemaphoreCreateBinary();
	rx_sem = xSemaphoreCreateBinary();
	reply_sem = xSemaphoreCreateBinary();

	/* Start with the relay released ("door closed"). */
	pinMode(RELAY_PIN, OUTPUT);
	relay_set(false);

	pinMode(MCP_INT_PIN, INPUT_PULLUP);
	attachInterrupt(digitalPinToInterrupt(MCP_INT_PIN), mcp_int_isr, FALLING);
	xTaskCreatePinnedToCore(rx_task, "can_rx", RX_TASK_STACK, NULL, RX_TASK_PRIORITY, NULL, 1);

	/* The controller stays on the bus from here on: the CAN module isn't power-managed. */
	return start_can() ? 0 : -ENODEV;
}
```

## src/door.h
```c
/* Door lock/unlock over CAN, with the relay wake for a body ECU in deep sleep. */
#ifndef DOOR_H
#define DOOR_H

#include <stdbool.h>
#include <stdint.h>

#include <zephyr/kernel.h>

#ifdef __cplusplus
extern "C" {
#endif

enum door_cmd {
	DOOR_UNLOCK,
	DOOR_LOCK,
};

/*
 * Sets up the CAN controller, then cuts the CAN module's supply until the first command or query, and
 * releases the relay. Returns 0 or a negative errno.
 */
int door_init(void);

/*
 * Sends the door command, retrying a few times. Powers the CAN module up if it is off. Thread-safe and blocking:
 * an unlock into a sleeping bus can take ~25 s of relay pulses. True when the frame was ACKed.
 */
bool door_send(enum door_cmd cmd);

/*
 * Cuts the CAN module's supply until the next door_send() or door_query(), which powers it up again.
 * While off it neither receives nor ACKs, like an empty OBD port.
 */
void door_sleep(void);

/*
 * Sends one request frame and waits for a reply from an id in [rsp_id, rsp_id + rsp_span). Powers
 * the CAN module up but never wakes the bus: with no traffic for BUS_AWAKE_TIMEOUT_MS it returns
 * -ENETDOWN without transmitting. Returns 0 with the reply in rsp, or a negative errno.
 */
int door_query(uint16_t req_id, const uint8_t req[8], uint16_t rsp_id, uint8_t rsp_span,
	       uint8_t rsp[8], k_timeout_t timeout);

#ifdef __cplusplus
}
#endif

#endif /* DOOR_H */
```

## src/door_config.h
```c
/*
 * Door command constants, ported from the ESP32 config.h (branch ESP32/main).
 * Frames verified on a 2018 Lexus CT200h; see README "Waking a sleeping bus".
 */
#ifndef DOOR_CONFIG_H
#define DOOR_CONFIG_H

#include <stdint.h>

/* ---- Door lock/unlock frame ---- */
#define DOOR_CMD_ID 0x750
static const uint8_t LOCK_CMD_DATA[8] = {0x40, 0x05, 0x30, 0x11, 0x00, 0x80, 0x00, 0x00};
static const uint8_t UNLOCK_CMD_DATA[8] = {0x40, 0x05, 0x30, 0x11, 0x00, 0x40, 0x00, 0x00};

/*
 * Diagnostic responses come back on the request ID + 8. A frame here proves the body ECU processed
 * the command, which a bare ACK does not.
 */
#define DOOR_RESPONSE_ID 0x758

#define DOOR_MAX_RETRIES   3   /* door frame attempts before giving up */
#define DOOR_RETRY_GAP_MS  150 /* pause between attempts */
#define DOOR_REPLY_WAIT_MS 200 /* how long to wait for the body ECU's 758 reply */
/*
 * An unACKed frame is retransmitted by the MCP2515 forever, so a send that is not ACKed within this
 * long is aborted (see send_frame()).
 */
#define DOOR_TX_TIMEOUT_MS 100

/*
 * How long after the last received frame the bus is still assumed awake. Used to skip a send that
 * would only fail, so the controller isn't driven error-passive for nothing.
 */
#define BUS_AWAKE_TIMEOUT_MS 2000

/* After a query frame that couldn't be delivered, door_query() refuses to send for this long. */
#define QUERY_HOLDOFF_MS 30000

/* ---- CAN module power (door_sleep()) ---- */
/*
 * Outside a fob session the P-MOS on D7 cuts the module's supply (can-power-gpios). Register values
 * are from the MCP2515 datasheet; the Zephyr driver keeps its own copies private.
 */
#define MCP_OPCODE_RESET      0xC0
#define MCP_OPCODE_READ       0x03
#define MCP_OPCODE_BIT_MODIFY 0x05
#define MCP_ADDR_CANSTAT      0x0E
#define MCP_ADDR_CANCTRL      0x0F
#define MCP_ADDR_CNF3         0x28
#define MCP_ADDR_CNF2         0x29
#define MCP_CNF2_SAM          0x40 /* sample each bit three times */
#define MCP_ADDR_CNF1         0x2A
#define MCP_ADDR_TXB0CTRL     0x30 /* TXB1CTRL/TXB2CTRL follow every 0x10 */
#define MCP_ADDR_CANINTE      0x2B
#define MCP_ADDR_CANINTF      0x2C
#define MCP_MODE_MASK         0xE0 /* CANCTRL.REQOP / CANSTAT.OPMOD */
#define MCP_ADDR_EFLG         0x2D
#define MCP_ADDR_TEC          0x1C
#define MCP_OSC_START_MS      5    /* crystal start-up after a reset, before talking to the chip */
/*
 * Supply rise (~4 ms with the 1 uF gate capacitor C4 of the rev E-PB-stock board), the module's
 * decoupling and the MCP2515's power-on reset, before the first SPI transfer. Keep it at 10 ms or
 * more.
 */
#define MCP_POWER_UP_MS       10
/* Powers the module at boot after the GPIO drivers (40) and before the MCP2515 driver (80). */
#define CAN_POWER_INIT_PRIORITY 60
/*
 * After power-up the chip has missed everything, so listen this long before judging the bus. The
 * gateway's NM frame ticks ~1 Hz while the bus is responsive.
 */
#define CAN_WAKE_LISTEN_MS    1200
/*
 * Sample point used when the MCP2515 has to be reconfigured after losing its setup. With the 8 MHz
 * crystal a bit is 8 TQ at 500 kbit/s and PS2 is at least 2, so 75 % is the highest reachable.
 */
#define CAN_SAMPLE_POINT_PERMILLE 750

/* ---- Relay wake (drives the driver's-door jamb-switch line to wake a sleeping body ECU) ---- */
/*
 * In deep sleep (~10+ min idle) the body ECU no longer listens on CAN, so no frame can reach it
 * (measured: 16 wake frames, 0 ACKed). It wakes on its hardwired door-courtesy switches instead.
 * A relay wired in PARALLEL with the driver's jamb switch (Toyota 84231-60070) reproduces a door
 * opening: the ECU holds the line high via its internal pull-up (door closed), the switch grounds
 * it (door open), and closing the relay grounds it the same way. We pulse a train of open/close
 * cycles, as Toyota's service procedure for a sleeping main body ECU does, then send the door frame.
 *
 * Validate on the car with the taped-plunger test before relying on this (see tests/reveil-ecu-relais.md).
 * With no relay wired, the relay pin just toggles an unconnected GPIO, which is harmless.
 * The pin and its polarity are relay-gpios in app.overlay.
 */
#define RELAY_WAKE_ENABLED    1
#define RELAY_PULSE_COUNT     5    /* open/close cycles per wake attempt */
#define RELAY_PULSE_ON_MS     1500 /* "door open" dwell (relay energised) */
#define RELAY_PULSE_OFF_MS    1500 /* "door closed" dwell (relay released) */
#define RELAY_WAKE_TIMEOUT_MS 8000 /* after the train, wait this long for the bus to come alive */

#endif /* DOOR_CONFIG_H */
```

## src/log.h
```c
/*
 * Stand-in for Zephyr logging: one "[module] message" line per call on the
 * USB serial port, at 115200 baud. Each file names its module once with
 * LOG_MODULE("name").
 */
#ifndef LOG_H
#define LOG_H

#include <Arduino.h>

#define LOG_MODULE(name) static const char *const log_module = name

#define LOG_INF(fmt, ...) Serial.printf("[%s] " fmt "\n", log_module, ##__VA_ARGS__)
#define LOG_WRN(fmt, ...) Serial.printf("[%s] warning: " fmt "\n", log_module, ##__VA_ARGS__)
#define LOG_ERR(fmt, ...) Serial.printf("[%s] error: " fmt "\n", log_module, ##__VA_ARGS__)

#endif /* LOG_H */
```
